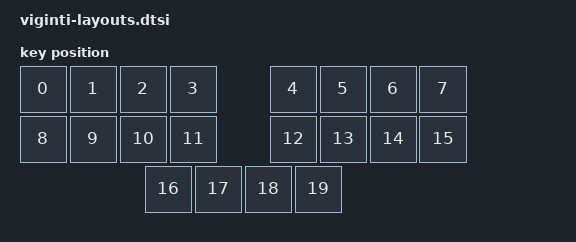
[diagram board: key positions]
#include <physical_layouts.dtsi>

/ {
    viginti_physical_layout: viginti_physical_layout {
        compatible = "zmk,physical-layout";
        display-name = "Viginti";
        status = "okay";
        kscan = <&kscan0>;
        transform = <&default_transform>;

        keys
            = <&key_physical_attrs 100 100   0   0 0 0 0> // A
            , <&key_physical_attrs 100 100 100   0 0 0 0> // R
            , <&key_physical_attrs 100 100 200   0 0 0 0> // S
            , <&key_physical_attrs 100 100 300   0 0 0 0> // T
            , <&key_physical_attrs 100 100 500   0 0 0 0> // N
            , <&key_physical_attrs 100 100 600   0 0 0 0> // E
            , <&key_physical_attrs 100 100 700   0 0 0 0> // I
            , <&key_physical_attrs 100 100 800   0 0 0 0> // O

            , <&key_physical_attrs 100 100   0 100 0 0 0> // Z
            , <&key_physical_attrs 100 100 100 100 0 0 0> // X
            , <&key_physical_attrs 100 100 200 100 0 0 0> // C
            , <&key_physical_attrs 100 100 300 100 0 0 0> // V
            , <&key_physical_attrs 100 100 500 100 0 0 0> // M
            , <&key_physical_attrs 100 100 600 100 0 0 0> // ,
            , <&key_physical_attrs 100 100 700 100 0 0 0> // .
            , <&key_physical_attrs 100 100 800 100 0 0 0> // /

            // Thumb keys (4 keys)
            , <&key_physical_attrs 100 100 250 200 0 0 0>
            , <&key_physical_attrs 100 100 350 200 0 0 0>
            , <&key_physical_attrs 100 100 450 200 0 0 0>
            , <&key_physical_attrs 100 100 550 200 0 0 0>
            ;
    };
};
